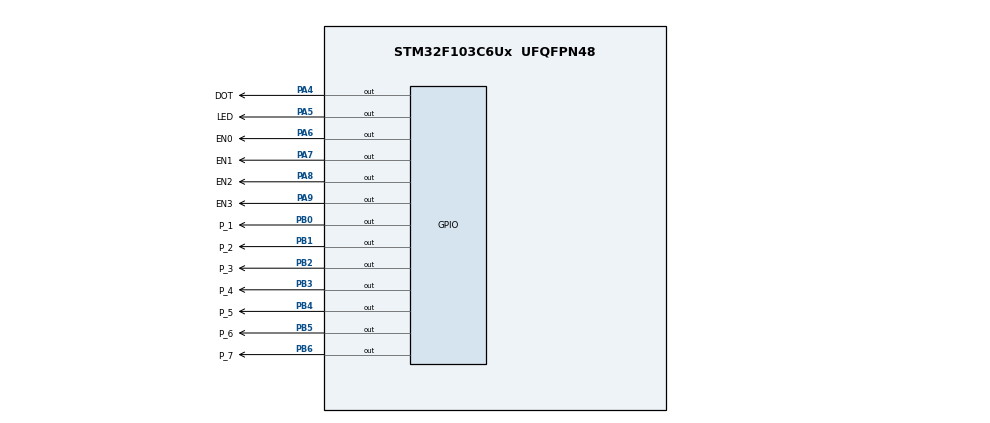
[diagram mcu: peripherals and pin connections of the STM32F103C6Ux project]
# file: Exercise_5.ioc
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Mcu.Family=STM32F1
Mcu.Name=STM32F103C6Ux
Mcu.Package=UFQFPN48
NVIC.PriorityGroup=NVIC_PRIORITYGROUP_4
NVIC.TIM2_IRQn=true\:0\:0\:false\:false\:true\:true\:true
PA4.GPIO_Label=DOT
PA4.Signal=GPIO_Output
PA5.GPIO_Label=LED
PA5.Signal=GPIO_Output
PA6.GPIO_Label=EN0
PA6.Signal=GPIO_Output
PA7.GPIO_Label=EN1
PA7.Signal=GPIO_Output
PA8.GPIO_Label=EN2
PA8.Signal=GPIO_Output
PA9.GPIO_Label=EN3
PA9.Signal=GPIO_Output
PB0.GPIO_Label=P_1
PB0.Signal=GPIO_Output
PB1.GPIO_Label=P_2
PB1.Signal=GPIO_Output
PB2.GPIO_Label=P_3
PB2.Signal=GPIO_Output
PB3.GPIO_Label=P_4
PB3.Signal=GPIO_Output
PB4.GPIO_Label=P_5
PB4.Signal=GPIO_Output
PB5.GPIO_Label=P_6
PB5.Signal=GPIO_Output
PB6.GPIO_Label=P_7
PB6.Signal=GPIO_Output
ProjectManager.HeapSize=0x200
ProjectManager.StackSize=0x400
ProjectManager.TargetToolchain=STM32CubeIDE
RCC.APB1Freq_Value=8000000
RCC.APB2Freq_Value=8000000
TIM2.Period=9
TIM2.Prescaler=7999
VP_SYS_VS_ND.Mode=No_Debug
VP_TIM2_VS_ClockSourceINT.Mode=Internal
board=custom

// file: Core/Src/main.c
/* USER CODE BEGIN Header */
/**
  ******************************************************************************
  * @file           : main.c
  * @brief          : Main program body
  ******************************************************************************
  * @attention
  *
  * <h2><center>&copy; Copyright (c) 2022 STMicroelectronics.
  * All rights reserved.</center></h2>
  *
  * This software component is licensed by ST under BSD 3-Clause license,
  * the "License"; You may not use this file except in compliance with the
  * License. You may obtain a copy of the License at:
  *                        opensource.org/licenses/BSD-3-Clause
  *
  ******************************************************************************
  */
/* USER CODE END Header */
#include "main.h"

TIM_HandleTypeDef htim2;

void SystemClock_Config(void);
static void MX_GPIO_Init(void);
static void MX_TIM2_Init(void);

/* USER CODE BEGIN 0 */
void display7SEG (int time)
{
	if(time==0)
	{
		HAL_GPIO_WritePin(P_1_GPIO_Port, P_1_Pin, RESET);
		HAL_GPIO_WritePin(P_2_GPIO_Port, P_2_Pin, RESET);
		HAL_GPIO_WritePin(P_3_GPIO_Port, P_3_Pin, RESET);
		HAL_GPIO_WritePin(P_4_GPIO_Port, P_4_Pin, RESET);
		HAL_GPIO_WritePin(P_5_GPIO_Port, P_5_Pin, RESET);
		HAL_GPIO_WritePin(P_6_GPIO_Port, P_6_Pin, RESET);
		HAL_GPIO_WritePin(P_7_GPIO_Port, P_7_Pin, SET);
	}
	else if(time==1)
	{
		HAL_GPIO_WritePin(P_1_GPIO_Port, P_1_Pin, SET);
		HAL_GPIO_WritePin(P_2_GPIO_Port, P_2_Pin, RESET);
		HAL_GPIO_WritePin(P_3_GPIO_Port, P_3_Pin, RESET);
		HAL_GPIO_WritePin(P_4_GPIO_Port, P_4_Pin, SET);
		HAL_GPIO_WritePin(P_5_GPIO_Port, P_5_Pin, SET);
		HAL_GPIO_WritePin(P_6_GPIO_Port, P_6_Pin, SET);
		HAL_GPIO_WritePin(P_7_GPIO_Port, P_7_Pin, SET);
	}
	else if(time==2)
	{
		HAL_GPIO_WritePin(P_1_GPIO_Port, P_1_Pin, RESET);
		HAL_GPIO_WritePin(P_2_GPIO_Port, P_2_Pin, RESET);
		HAL_GPIO_WritePin(P_3_GPIO_Port, P_3_Pin, SET);
		HAL_GPIO_WritePin(P_4_GPIO_Port, P_4_Pin, RESET);
		HAL_GPIO_WritePin(P_5_GPIO_Port, P_5_Pin, RESET);
		HAL_GPIO_WritePin(P_6_GPIO_Port, P_6_Pin, SET);
		HAL_GPIO_WritePin(P_7_GPIO_Port, P_7_Pin, RESET);
	}
	else if(time==3)
	{
		HAL_GPIO_WritePin(P_1_GPIO_Port, P_1_Pin, RESET);
		HAL_GPIO_WritePin(P_2_GPIO_Port, P_2_Pin, RESET);
		HAL_GPIO_WritePin(P_3_GPIO_Port, P_3_Pin, RESET);
		HAL_GPIO_WritePin(P_4_GPIO_Port, P_4_Pin, RESET);
		HAL_GPIO_WritePin(P_5_GPIO_Port, P_5_Pin, SET);
		HAL_GPIO_WritePin(P_6_GPIO_Port, P_6_Pin, SET);
		HAL_GPIO_WritePin(P_7_GPIO_Port, P_7_Pin, RESET);
	}
	else if(time==4)
	{
		HAL_GPIO_WritePin(P_1_GPIO_Port, P_1_Pin, SET);
		HAL_GPIO_WritePin(P_2_GPIO_Port, P_2_Pin, RESET);
		HAL_GPIO_WritePin(P_3_GPIO_Port, P_3_Pin, RESET);
		HAL_GPIO_WritePin(P_4_GPIO_Port, P_4_Pin, SET);
		HAL_GPIO_WritePin(P_5_GPIO_Port, P_5_Pin, SET);
		HAL_GPIO_WritePin(P_6_GPIO_Port, P_6_Pin, RESET);
		HAL_GPIO_WritePin(P_7_GPIO_Port, P_7_Pin, RESET);
	}
	else if(time==5)
	{
		HAL_GPIO_WritePin(P_1_GPIO_Port, P_1_Pin, RESET);
		HAL_GPIO_WritePin(P_2_GPIO_Port, P_2_Pin, SET);
		HAL_GPIO_WritePin(P_3_GPIO_Port, P_3_Pin, RESET);
		HAL_GPIO_WritePin(P_4_GPIO_Port, P_4_Pin, RESET);
		HAL_GPIO_WritePin(P_5_GPIO_Port, P_5_Pin, SET);
		HAL_GPIO_WritePin(P_6_GPIO_Port, P_6_Pin, RESET);
		HAL_GPIO_WritePin(P_7_GPIO_Port, P_7_Pin, RESET);
	}
	else if(time==6)
	{
		HAL_GPIO_WritePin(P_1_GPIO_Port, P_1_Pin, RESET);
		HAL_GPIO_WritePin(P_2_GPIO_Port, P_2_Pin, SET);
		HAL_GPIO_WritePin(P_3_GPIO_Port, P_3_Pin, RESET);
		HAL_GPIO_WritePin(P_4_GPIO_Port, P_4_Pin, RESET);
		HAL_GPIO_WritePin(P_5_GPIO_Port, P_5_Pin, RESET);
		HAL_GPIO_WritePin(P_6_GPIO_Port, P_6_Pin, RESET);
		HAL_GPIO_WritePin(P_7_GPIO_Port, P_7_Pin, RESET);
	}
	else if(time==7)
	{
		HAL_GPIO_WritePin(P_1_GPIO_Port, P_1_Pin, RESET);
		HAL_GPIO_WritePin(P_2_GPIO_Port, P_2_Pin, RESET);
		HAL_GPIO_WritePin(P_3_GPIO_Port, P_3_Pin, RESET);
		HAL_GPIO_WritePin(P_4_GPIO_Port, P_4_Pin, SET);
		HAL_GPIO_WritePin(P_5_GPIO_Port, P_5_Pin, SET);
		HAL_GPIO_WritePin(P_6_GPIO_Port, P_6_Pin, SET);
		HAL_GPIO_WritePin(P_7_GPIO_Port, P_7_Pin, SET);
	}
	else if(time==8)
	{
		HAL_GPIO_WritePin(P_1_GPIO_Port, P_1_Pin, RESET);
		HAL_GPIO_WritePin(P_2_GPIO_Port, P_2_Pin, RESET);
		HAL_GPIO_WritePin(P_3_GPIO_Port, P_3_Pin, RESET);
		HAL_GPIO_WritePin(P_4_GPIO_Port, P_4_Pin, RESET);
		HAL_GPIO_WritePin(P_5_GPIO_Port, P_5_Pin, RESET);
		HAL_GPIO_WritePin(P_6_GPIO_Port, P_6_Pin, RESET);
		HAL_GPIO_WritePin(P_7_GPIO_Port, P_7_Pin, RESET);
	}
	else if(time==9)
	{
		HAL_GPIO_WritePin(P_1_GPIO_Port, P_1_Pin, RESET);
		HAL_GPIO_WritePin(P_2_GPIO_Port, P_2_Pin, RESET);
		HAL_GPIO_WritePin(P_3_GPIO_Port, P_3_Pin, RESET);
		HAL_GPIO_WritePin(P_4_GPIO_Port, P_4_Pin, RESET);
		HAL_GPIO_WritePin(P_5_GPIO_Port, P_5_Pin, SET);
		HAL_GPIO_WritePin(P_6_GPIO_Port, P_6_Pin, RESET);
		HAL_GPIO_WritePin(P_7_GPIO_Port, P_7_Pin, RESET);
	}
}
const int MAX_LED = 4;
int led_buffer [4];
void update7SEG (int index) {
	switch (index)	{
	case 0:
		HAL_GPIO_WritePin(EN0_GPIO_Port, EN0_Pin, RESET);
		HAL_GPIO_WritePin(EN1_GPIO_Port, EN1_Pin, SET);
		HAL_GPIO_WritePin(EN2_GPIO_Port, EN2_Pin, SET);
		HAL_GPIO_WritePin(EN3_GPIO_Port, EN3_Pin, SET);
		display7SEG(led_buffer[0]);
		break;
	case 1:
		HAL_GPIO_WritePin(EN0_GPIO_Port, EN0_Pin, SET);
		HAL_GPIO_WritePin(EN1_GPIO_Port, EN1_Pin, RESET);
		HAL_GPIO_WritePin(EN2_GPIO_Port, EN2_Pin, SET);
		HAL_GPIO_WritePin(EN3_GPIO_Port, EN3_Pin, SET);
		display7SEG(led_buffer[1]);
		break;
	case 2:
		HAL_GPIO_WritePin(EN0_GPIO_Port, EN0_Pin, SET);
		HAL_GPIO_WritePin(EN1_GPIO_Port, EN1_Pin, SET);
		HAL_GPIO_WritePin(EN2_GPIO_Port, EN2_Pin, RESET);
		HAL_GPIO_WritePin(EN3_GPIO_Port, EN3_Pin, SET);
		display7SEG(led_buffer[2]);
		break;
	case 3:
		HAL_GPIO_WritePin(EN0_GPIO_Port, EN0_Pin, SET);
		HAL_GPIO_WritePin(EN1_GPIO_Port, EN1_Pin, SET);
		HAL_GPIO_WritePin(EN2_GPIO_Port, EN2_Pin, SET);
		HAL_GPIO_WritePin(EN3_GPIO_Port, EN3_Pin, RESET);
		display7SEG(led_buffer[3]);
		break;
	default:
		break;
	}
 }
void updateclockbuffer(int min,int hrs)
{
	if(min<10)
	{
		led_buffer[2]=0;
		led_buffer[3]=min;
	}
	else if(min>=10)
	{
		led_buffer[2]=min/10;
		led_buffer[3]=min%10;
	}
	if(hrs<10)
	{
		led_buffer[0]=0;
		led_buffer[1]=hrs;
	}
	else if(hrs>=10)
	{
		led_buffer[0]=hrs/10;
		led_buffer[1]=hrs%10;
	}
}
/* USER CODE END 0 */

int main(void)
{

  /* MCU Configuration--------------------------------------------------------*/

  /* Reset of all peripherals, Initializes the Flash interface and the Systick. */
  HAL_Init();

  /* Configure the system clock */
  SystemClock_Config();

  /* Initialize all configured peripherals */
  MX_GPIO_Init();
  MX_TIM2_Init();
  /* USER CODE BEGIN 2 */
  HAL_TIM_Base_Start_IT (& htim2 ) ;
  /* USER CODE END 2 */

  /* Infinite loop */
  /* USER CODE BEGIN WHILE */
  int hour=15,minute=8,second=50;

  while (1)
  {
	  second++;
	  if(second==60)
	  {
		  minute++;
		  second=0;
	  }
	  if(minute==60)
	  {
		  hour++;
		  minute=0;
	  }
	  if(hour>=24)
	  {
		  hour=0;
	  }
	  updateclockbuffer(minute,hour);
	  HAL_Delay(1000);
    /* USER CODE END WHILE */

  }
}

void SystemClock_Config(void)
{
  RCC_OscInitTypeDef RCC_OscInitStruct = {0};
  RCC_ClkInitTypeDef RCC_ClkInitStruct = {0};

  /** Initializes the RCC Oscillators according to the specified parameters
  * in the RCC_OscInitTypeDef structure.
  */
  RCC_OscInitStruct.OscillatorType = RCC_OSCILLATORTYPE_HSI;
  RCC_OscInitStruct.HSIState = RCC_HSI_ON;
  RCC_OscInitStruct.HSICalibrationValue = RCC_HSICALIBRATION_DEFAULT;
  RCC_OscInitStruct.PLL.PLLState = RCC_PLL_NONE;
  if (HAL_RCC_OscConfig(&RCC_OscInitStruct) != HAL_OK)
  {
    Error_Handler();
  }
  /** Initializes the CPU, AHB and APB buses clocks
  */
  RCC_ClkInitStruct.ClockType = RCC_CLOCKTYPE_HCLK|RCC_CLOCKTYPE_SYSCLK
                              |RCC_CLOCKTYPE_PCLK1|RCC_CLOCKTYPE_PCLK2;
  RCC_ClkInitStruct.SYSCLKSource = RCC_SYSCLKSOURCE_HSI;
  RCC_ClkInitStruct.AHBCLKDivider = RCC_SYSCLK_DIV1;
  RCC_ClkInitStruct.APB1CLKDivider = RCC_HCLK_DIV1;
  RCC_ClkInitStruct.APB2CLKDivider = RCC_HCLK_DIV1;

  if (HAL_RCC_ClockConfig(&RCC_ClkInitStruct, FLASH_LATENCY_0) != HAL_OK)
  {
    Error_Handler();
  }
}

static void MX_TIM2_Init(void)
{

  TIM_ClockConfigTypeDef sClockSourceConfig = {0};
  TIM_MasterConfigTypeDef sMasterConfig = {0};

  htim2.Instance = TIM2;
  htim2.Init.Prescaler = 7999;
  htim2.Init.CounterMode = TIM_COUNTERMODE_UP;
  htim2.Init.Period = 9;
  htim2.Init.ClockDivision = TIM_CLOCKDIVISION_DIV1;
  htim2.Init.AutoReloadPreload = TIM_AUTORELOAD_PRELOAD_DISABLE;
  if (HAL_TIM_Base_Init(&htim2) != HAL_OK)
  {
    Error_Handler();
  }
  sClockSourceConfig.ClockSource = TIM_CLOCKSOURCE_INTERNAL;
  if (HAL_TIM_ConfigClockSource(&htim2, &sClockSourceConfig) != HAL_OK)
  {
    Error_Handler();
  }
  sMasterConfig.MasterOutputTrigger = TIM_TRGO_RESET;
  sMasterConfig.MasterSlaveMode = TIM_MASTERSLAVEMODE_DISABLE;
  if (HAL_TIMEx_MasterConfigSynchronization(&htim2, &sMasterConfig) != HAL_OK)
  {
    Error_Handler();
  }

}

static void MX_GPIO_Init(void)
{
  GPIO_InitTypeDef GPIO_InitStruct = {0};

  /* GPIO Ports Clock Enable */
  __HAL_RCC_GPIOA_CLK_ENABLE();
  __HAL_RCC_GPIOB_CLK_ENABLE();

  /*Configure GPIO pin Output Level */
  HAL_GPIO_WritePin(GPIOA, DOT_Pin|LED_Pin|EN0_Pin|EN1_Pin
                          |EN2_Pin|EN3_Pin, GPIO_PIN_RESET);

  /*Configure GPIO pin Output Level */
  HAL_GPIO_WritePin(GPIOB, P_1_Pin|P_2_Pin|P_3_Pin|P_4_Pin
                          |P_5_Pin|P_6_Pin|P_7_Pin, GPIO_PIN_RESET);

  /*Configure GPIO pins : DOT_Pin LED_Pin EN0_Pin EN1_Pin
                           EN2_Pin EN3_Pin */
  GPIO_InitStruct.Pin = DOT_Pin|LED_Pin|EN0_Pin|EN1_Pin
                          |EN2_Pin|EN3_Pin;
  GPIO_InitStruct.Mode = GPIO_MODE_OUTPUT_PP;
  GPIO_InitStruct.Pull = GPIO_NOPULL;
  GPIO_InitStruct.Speed = GPIO_SPEED_FREQ_LOW;
  HAL_GPIO_Init(GPIOA, &GPIO_InitStruct);

  /*Configure GPIO pins : P_1_Pin P_2_Pin P_3_Pin P_4_Pin
                           P_5_Pin P_6_Pin P_7_Pin */
  GPIO_InitStruct.Pin = P_1_Pin|P_2_Pin|P_3_Pin|P_4_Pin
                          |P_5_Pin|P_6_Pin|P_7_Pin;
  GPIO_InitStruct.Mode = GPIO_MODE_OUTPUT_PP;
  GPIO_InitStruct.Pull = GPIO_NOPULL;
  GPIO_InitStruct.Speed = GPIO_SPEED_FREQ_LOW;
  HAL_GPIO_Init(GPIOB, &GPIO_InitStruct);

}

/* USER CODE BEGIN 4 */
int led_time=100;
int index_led = 0;
int seg_time=1;
int dot_time=50;
void HAL_TIM_PeriodElapsedCallback ( TIM_HandleTypeDef * htim )
{
	if(led_time>0)
	{
		led_time--;
		if(led_time<=0)
		{
			led_time=100;
			HAL_GPIO_TogglePin(LED_GPIO_Port, LED_Pin);
		}
	}
	if(dot_time>0)
	{
		dot_time--;
		if(dot_time<=0)
		{
			dot_time=50;
			HAL_GPIO_TogglePin(DOT_GPIO_Port,DOT_Pin);
		}
	}
	if(seg_time>0)
		{
			seg_time--;
			if(seg_time<=0)
			{
				update7SEG(index_led++);
				if(index_led>3)
				{
					index_led=0;
				}
				seg_time=25;
			}
		}
}
/* USER CODE END 4 */

void Error_Handler(void)
{
  __disable_irq();
  while (1)
  {
  }
}

/************************ (C) COPYRIGHT STMicroelectronics *****END OF FILE****/
